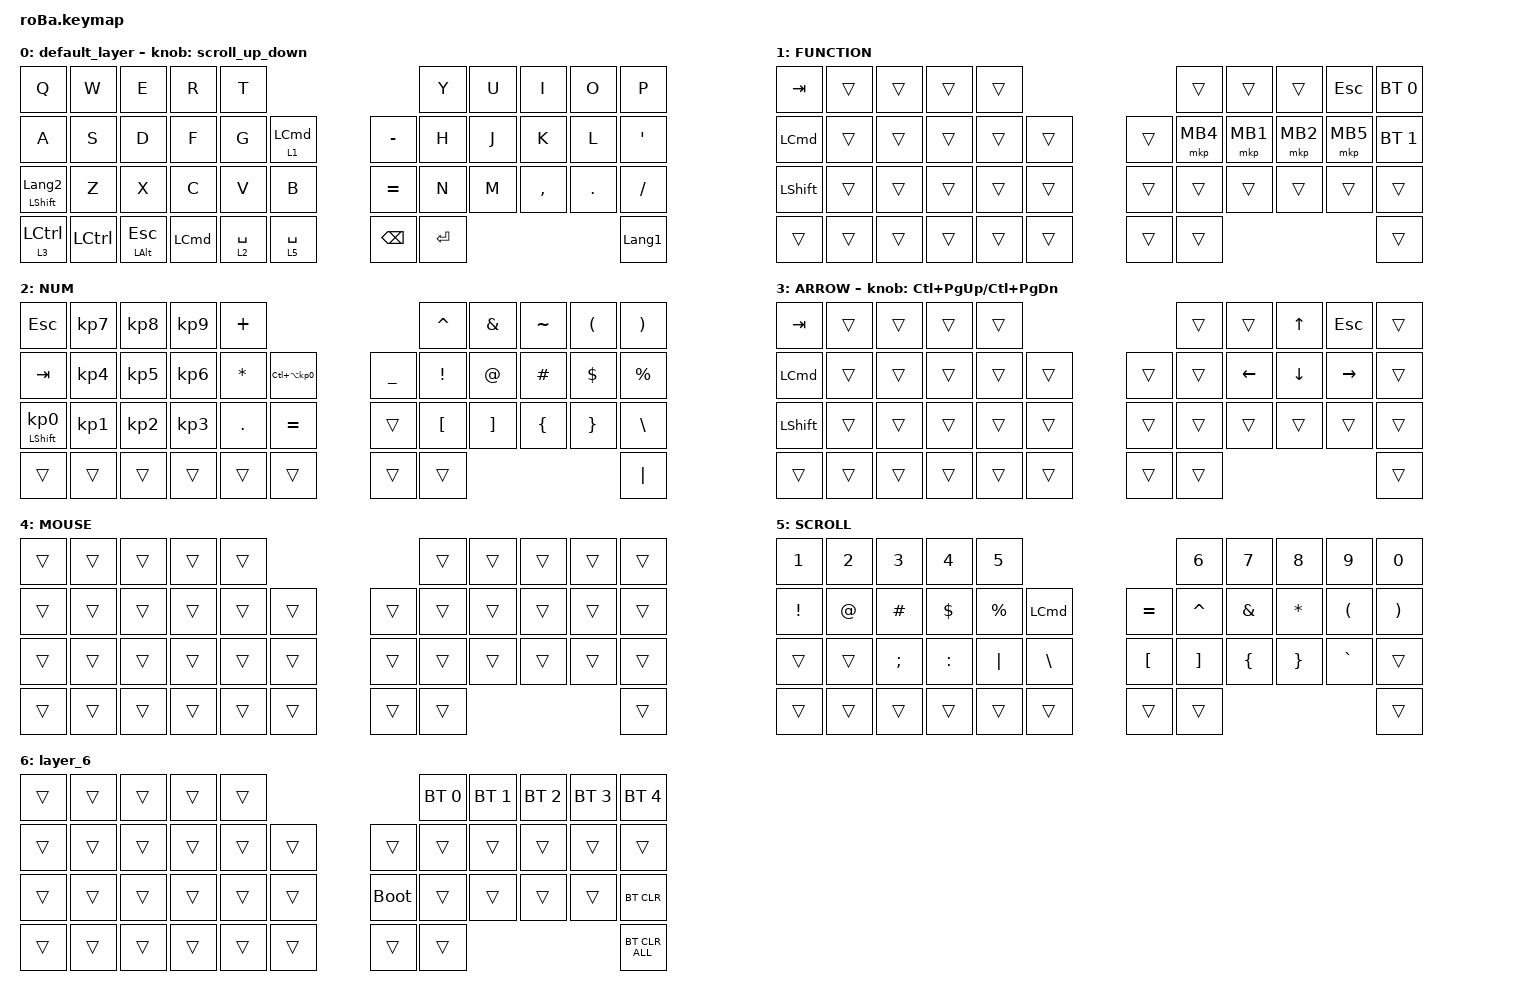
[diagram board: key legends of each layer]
#include <behaviors.dtsi>
#include <dt-bindings/zmk/bt.h>
#include <dt-bindings/zmk/keys.h>
#include <dt-bindings/zmk/pointing.h>

#define ZMK_POINTING_DEFAULT_SCRL_VAL 100
#define MOUSE 4
#define SCROLL 5
#define NUM 6

&mt {
    flavor = "balanced";
    quick-tap-ms = <0>;
    tapping-term-ms = <150>;
};

/ {
    combos { compatible = "zmk,combos"; };

    macros {
        to_layer_0: to_layer_0 {
            compatible = "zmk,behavior-macro-one-param";
            #binding-cells = <1>;
            bindings = <&to 0 &macro_param_1to1 &kp MACRO_PLACEHOLDER>;
            label = "TO_LAYER_0";
        };
    };

    behaviors {
        lt_to_layer_0: lt_to_layer_0 {
            compatible = "zmk,behavior-hold-tap";
            label = "LAYER_TAP_TO_0";
            bindings = <&mo>, <&to_layer_0>;

            #binding-cells = <2>;
            tapping-term-ms = <100>;
        };

        scroll_up_down: behavior_sensor_rotate_mouse_wheel_up_down {
            compatible = "zmk,behavior-sensor-rotate";
            #sensor-binding-cells = <0>;
            bindings = <&msc SCRL_UP>, <&msc SCRL_DOWN>;

            // 追加: スクロールのタップ時間を設定 (20ms)

            tap-ms = <20>;
        };
    };

    keymap {
        compatible = "zmk,keymap";

        default_layer {
            bindings = <
&kp Q                      &kp W      &kp E                &kp R             &kp T                                                          &kp Y      &kp U  &kp I      &kp O    &kp P
&kp A                      &kp S      &kp D                &kp F             &kp G        &lt_to_layer_0 1 LEFT_COMMAND      &kp MINUS      &kp H      &kp J  &kp K      &kp L    &kp SQT
&mt LEFT_SHIFT LANGUAGE_2  &kp Z      &kp X                &kp C             &kp V        &kp B                              &kp EQUAL      &kp N      &kp M  &kp COMMA  &kp DOT  &kp SLASH
&lt_to_layer_0 3 LCTRL     &kp LCTRL  &mt LEFT_ALT ESCAPE  &kp LEFT_COMMAND  &lt 2 SPACE  &lt_to_layer_0 5 SPACE             &kp BACKSPACE  &kp ENTER                             &kp LANGUAGE_1
            >;

            sensor-bindings = <&scroll_up_down>;
        };

        FUNCTION {
            bindings = <
&kp TAB           &trans  &trans  &trans  &trans                      &trans    &trans    &trans    &kp ESCAPE  &bt BT_SEL 0
&kp LEFT_COMMAND  &trans  &trans  &trans  &trans  &trans      &trans  &mkp MB4  &mkp MB1  &mkp MB2  &mkp MB5    &bt BT_SEL 1
&kp LEFT_SHIFT    &trans  &trans  &trans  &trans  &trans      &trans  &trans    &trans    &trans    &trans      &trans
&trans            &trans  &trans  &trans  &trans  &trans      &trans  &trans                                    &trans
            >;
        };

        NUM {
            bindings = <
&kp ESCAPE                  &kp KP_NUMBER_7  &kp KP_NUMBER_8  &kp KP_NUMBER_9  &kp PLUS                                                   &kp CARET         &kp AMPERSAND      &kp TILDE       &kp LEFT_PARENTHESIS  &kp RIGHT_PARENTHESIS
&kp TAB                     &kp KP_NUMBER_4  &kp KP_NUMBER_5  &kp KP_NUMBER_6  &kp ASTERISK  &kp LC(LA(KP_NUMBER_0))      &kp UNDERSCORE  &kp EXCLAMATION   &kp AT_SIGN        &kp HASH        &kp DOLLAR            &kp PERCENT
&mt LEFT_SHIFT KP_NUMBER_0  &kp KP_NUMBER_1  &kp KP_NUMBER_2  &kp KP_NUMBER_3  &kp PERIOD    &kp EQUAL                    &trans          &kp LEFT_BRACKET  &kp RIGHT_BRACKET  &kp LEFT_BRACE  &kp RIGHT_BRACE       &kp BACKSLASH
&trans                      &trans           &trans           &trans           &trans        &trans                       &trans          &trans                                                                     &kp PIPE
            >;
        };

        ARROW {
            bindings = <
&kp TAB           &trans  &trans  &trans  &trans                      &trans  &trans          &kp UP_ARROW    &kp ESCAPE       &trans
&kp LEFT_COMMAND  &trans  &trans  &trans  &trans  &trans      &trans  &trans  &kp LEFT_ARROW  &kp DOWN_ARROW  &kp RIGHT_ARROW  &trans
&kp LEFT_SHIFT    &trans  &trans  &trans  &trans  &trans      &trans  &trans  &trans          &trans          &trans           &trans
&trans            &trans  &trans  &trans  &trans  &trans      &trans  &trans                                                   &trans
            >;

            sensor-bindings = <&inc_dec_kp LC(PAGE_UP) LC(PAGE_DOWN)>;
        };

        MOUSE {
            bindings = <
&trans  &trans  &trans  &trans  &trans                      &trans  &trans  &trans  &trans  &trans
&trans  &trans  &trans  &trans  &trans  &trans      &trans  &trans  &trans  &trans  &trans  &trans
&trans  &trans  &trans  &trans  &trans  &trans      &trans  &trans  &trans  &trans  &trans  &trans
&trans  &trans  &trans  &trans  &trans  &trans      &trans  &trans                          &trans
            >;
        };

        SCROLL {
            bindings = <
&kp NUMBER_1     &kp NUMBER_2  &kp NUMBER_3  &kp NUMBER_4  &kp NUMBER_5                                          &kp NUMBER_6       &kp NUMBER_7    &kp NUMBER_8     &kp NUMBER_9          &kp NUMBER_0
&kp EXCLAMATION  &kp AT_SIGN   &kp HASH      &kp DOLLAR    &kp PERCENT   &kp LEFT_COMMAND      &kp EQUAL         &kp CARET          &kp AMPERSAND   &kp ASTERISK     &kp LEFT_PARENTHESIS  &kp RIGHT_PARENTHESIS
&trans           &trans        &kp SEMI      &kp COLON     &kp PIPE      &kp BACKSLASH         &kp LEFT_BRACKET  &kp RIGHT_BRACKET  &kp LEFT_BRACE  &kp RIGHT_BRACE  &kp GRAVE             &trans
&trans           &trans        &trans        &trans        &trans        &trans                &trans            &trans                                                                    &trans
            >;
        };

        layer_6 {
            bindings = <
&trans  &trans  &trans  &trans  &trans                           &bt BT_SEL 0  &bt BT_SEL 1  &bt BT_SEL 2  &bt BT_SEL 3  &bt BT_SEL 4
&trans  &trans  &trans  &trans  &trans  &trans      &trans       &trans        &trans        &trans        &trans        &trans
&trans  &trans  &trans  &trans  &trans  &trans      &bootloader  &trans        &trans        &trans        &trans        &bt BT_CLR
&trans  &trans  &trans  &trans  &trans  &trans      &trans       &trans                                                  &bt BT_CLR_ALL
            >;
        };
    };
};
